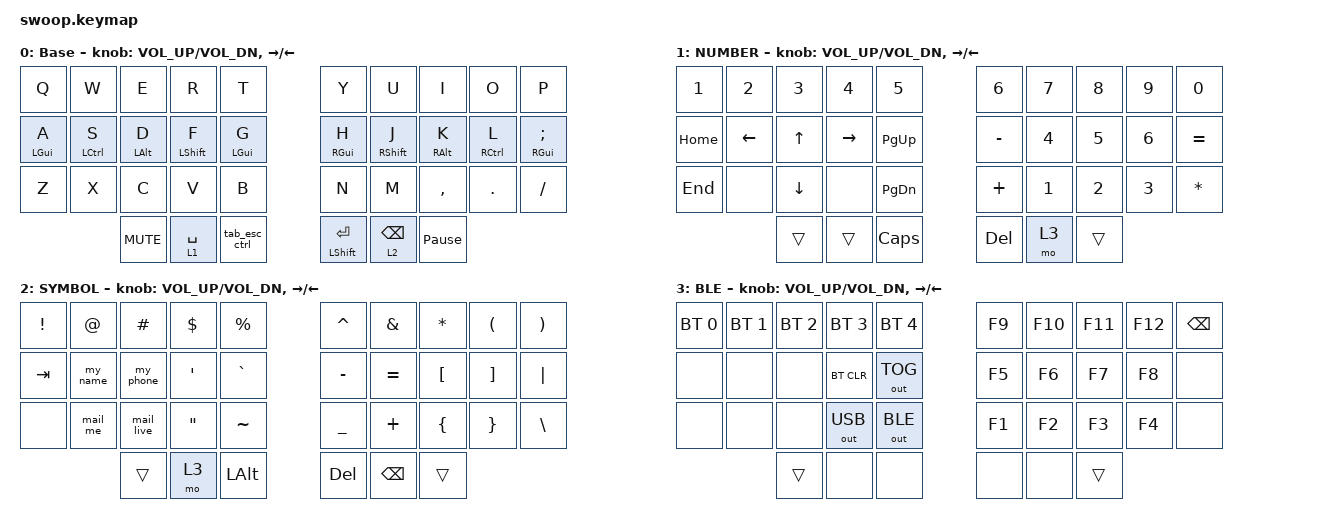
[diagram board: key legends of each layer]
/*
 * Copyright (c) 2020 duckyb
 *
 * SPDX-License-Identifier: MIT
 */

#include <behaviors.dtsi>
#include <dt-bindings/zmk/keys.h>
#include <dt-bindings/zmk/bt.h>
#include <dt-bindings/zmk/outputs.h>

/ {
    behaviors {
        tab_esc_ctrl: tab_esc_ctrl {
            compatible = "zmk,behavior-tap-dance";
            label = "TAB_ESC_CTRL";
            #binding-cells = <0>;
            bindings =
                <&mt LCTRL ESC>,
                <&kp TAB>;
        };
        gqt: global-quick-tap {
            compatible = "zmk,behavior-hold-tap";
            label = "GLOBAL_QUICK_TAP";
            bindings =
                <&kp>,
                <&kp>;

            #binding-cells = <2>;
            quick-tap-ms = <180>;
            tapping-term-ms = <200>;
            global-quick-tap;
        };
        ltq: ltq {
            compatible = "zmk,behavior-hold-tap";
            label = "LTQ";
            bindings =
                <&mo>,
                <&kp>;

            #binding-cells = <2>;
            global-quick-tap;
            tapping-term-ms = <200>;
            quick-tap-ms = <180>;
        };
    };

    combos {
        compatible = "zmk,combos";

        left_parenthesis {
            bindings = <&kp LEFT_PARENTHESIS>;
            key-positions = <3 4>;
            timeout-ms = <50>;
        };

        right_parenthesis {
            bindings = <&kp RIGHT_PARENTHESIS>;
            key-positions = <5 6>;
            timeout-ms = <50>;
        };

        left_bracket {
            bindings = <&kp LEFT_BRACKET>;
            key-positions = <13 14>;
            timeout-ms = <50>;
        };

        right_bracket {
            bindings = <&kp RIGHT_BRACKET>;
            key-positions = <16 15>;
            timeout-ms = <50>;
        };

        left_brace {
            bindings = <&kp LEFT_BRACE>;
            key-positions = <23 24>;
            timeout-ms = <50>;
        };

        right_brace {
            bindings = <&kp RIGHT_BRACE>;
            key-positions = <25 26>;
            timeout-ms = <50>;
        };

        back_slash {
            bindings = <&kp BACKSLASH>;
            key-positions = <24 13>;
            timeout-ms = <50>;
        };

        forward_slash {
            bindings = <&kp SLASH>;
            key-positions = <25 16>;
            timeout-ms = <50>;
        };

        pipe {
            bindings = <&kp PIPE>;
            key-positions = <14 24>;
            timeout-ms = <50>;
        };

        under {
            bindings = <&kp UNDER>;
            key-positions = <15 25>;
            timeout-ms = <50>;
        };
    };

    macros {
        my_phone: my_phone {
            compatible = "zmk,behavior-macro";
            label = "MY_PHONE";
            #binding-cells = <0>;
            bindings = <&kp N1 &kp N8 &kp NUMBER_6 &kp STAR &kp STAR &kp STAR &kp STAR &kp NUMBER_0 &kp NUMBER_5 &kp NUMBER_0 &kp NUMBER_3>;
        };
        mail_me: mail_me {
            compatible = "zmk,behavior-macro";
            label = "MAIL_ME";
            #binding-cells = <0>;
            bindings = <&kp I &kp P &kp R &kp O &kp STAR &kp STAR &kp STAR &kp STAR &kp STAR &kp AT_SIGN &kp STAR &kp E &kp DOT &kp C &kp O &kp M>;
        };
        mail_live: mail_live {
            compatible = "zmk,behavior-macro";
            label = "MAIL_LIVE";
            #binding-cells = <0>;
            bindings = <&kp I &kp P &kp R &kp O &kp STAR &kp STAR &kp STAR &kp STAR &kp STAR &kp AT &kp L &kp I &kp V &kp E &kp DOT &kp C &kp O &kp M>;
        };
        my_name: my_name {
            compatible = "zmk,behavior-macro";
            label = "MY_NAME";
            #binding-cells = <0>;
            bindings = <&kp I &kp P &kp R &kp NUMBER_1 &kp STAR &kp STAR &kp STAR &kp S &kp S>;
        };
    };

    keymap {
        compatible = "zmk,keymap";

        base {
            label = "Base";
            bindings = <
      &kp Q         &kp W            &kp E         &kp R          &kp T               &kp Y             &kp U             &kp I         &kp O           &kp P
&gqt LGUI A  &gqt LCTRL S  &gqt LEFT_ALT D  &gqt LSHFT F    &gqt LGUI G         &gqt RGUI H      &gqt RSHFT J  &gqt RIGHT_ALT K  &gqt RCTRL L  &gqt RGUI SEMI
      &kp Z         &kp X            &kp C         &kp V          &kp B               &kp N             &kp M         &kp COMMA       &kp DOT        &kp FSLH
                                &kp C_MUTE   &lt 1 SPACE  &tab_esc_ctrl    &mt LSHIFT ENTER  &ltq 2 BACKSPACE   &kp PAUSE_BREAK
            >;

            sensor-bindings = <&inc_dec_kp C_VOL_UP C_VOL_DN &inc_dec_kp RIGHT LEFT>;
        };

        number {
            label = "NUMBER";
            bindings = <
  &kp N1  &kp NUMBER_2    &kp N3     &kp N4     &kp N5    &kp NUMBER_6  &kp N7  &kp N8  &kp N9     &kp N0
&kp HOME      &kp LEFT    &kp UP  &kp RIGHT  &kp PG_UP       &kp MINUS  &kp N4  &kp N5  &kp N6  &kp EQUAL
 &kp END         &none  &kp DOWN      &none  &kp PG_DN        &kp PLUS  &kp N1  &kp N2  &kp N3   &kp STAR
                          &trans     &trans   &kp CAPS         &kp DEL   &mo 3  &trans
            >;

            sensor-bindings = <&inc_dec_kp C_VOL_UP C_VOL_DN &inc_dec_kp RIGHT LEFT>;
        };

        symbol {
            label = "SYMBOL";
            bindings = <
&kp EXCL    &kp AT    &kp HASH           &kp DLLR     &kp PRCNT    &kp CARET       &kp AMPS        &kp STAR  &kp LEFT_PARENTHESIS  &kp RIGHT_PARENTHESIS
 &kp TAB  &my_name   &my_phone            &kp SQT     &kp GRAVE    &kp MINUS      &kp EQUAL        &kp LBKT     &kp RIGHT_BRACKET               &kp PIPE
   &none  &mail_me  &mail_live  &kp DOUBLE_QUOTES     &kp TILDE    &kp UNDER       &kp PLUS  &kp LEFT_BRACE       &kp RIGHT_BRACE               &kp BSLH
                        &trans              &mo 3  &kp LEFT_ALT      &kp DEL  &kp BACKSPACE          &trans
            >;

            sensor-bindings = <&inc_dec_kp C_VOL_UP C_VOL_DN &inc_dec_kp RIGHT LEFT>;
        };

        ble {
            label = "BLE";
            bindings = <
&bt BT_SEL 0  &bt BT_SEL 1  &bt BT_SEL 2  &bt BT_SEL 3  &bt BT_SEL 4    &kp F9  &kp F10  &kp F11  &kp F12  &kp BSPC
       &none         &none         &none    &bt BT_CLR  &out OUT_TOG    &kp F5   &kp F6   &kp F7   &kp F8     &none
       &none         &none         &none  &out OUT_USB  &out OUT_BLE    &kp F1   &kp F2   &kp F3   &kp F4     &none
                                  &trans         &none         &none     &none    &none   &trans
            >;

            sensor-bindings = <&inc_dec_kp C_VOL_UP C_VOL_DN &inc_dec_kp RIGHT LEFT>;
        };
    };
};
